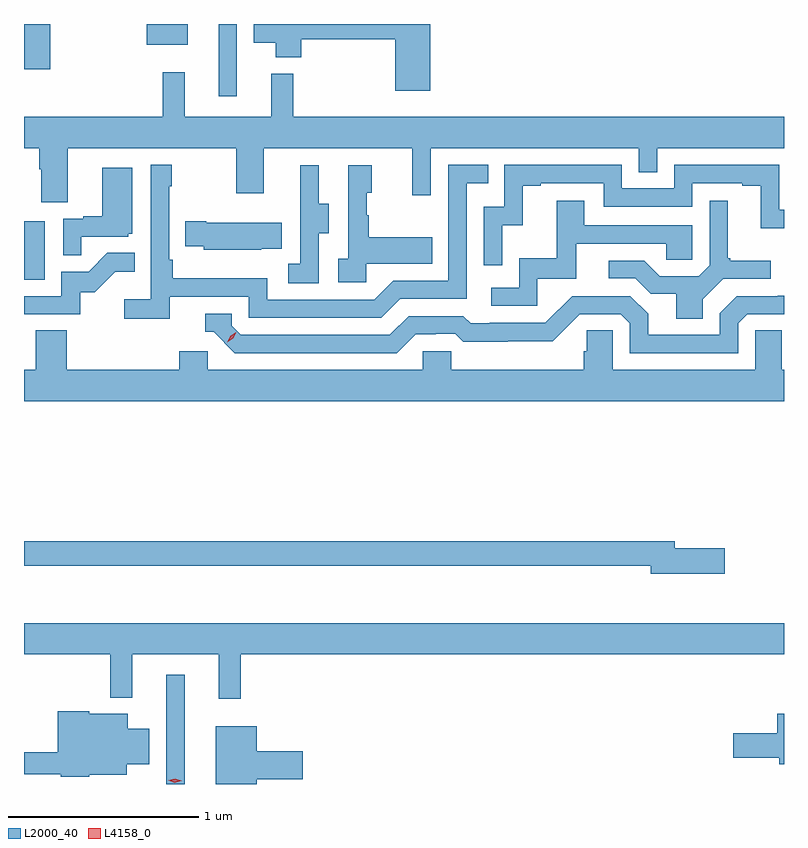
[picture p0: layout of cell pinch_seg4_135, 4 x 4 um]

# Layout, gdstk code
import gdstk
lib = gdstk.Library(unit=1e-6, precision=1e-09)
def R(c, l, rs):  # rectangles x0, y0, x1, y1
    for r in rs: c.add(gdstk.rectangle(r[:2], r[2:], *l))
def P(c, l, *ps):  # polygons
    for p in ps: c.add(gdstk.Polygon(p, *l))
L2000_40 = (2000, 40)
L4158_0 = (4158, 0)

pinch_seg4_135 = lib.new_cell('pinch_seg4_135')
R(pinch_seg4_135, L2000_40, [(1106.961,808.125,1107.058,808.699), (1106.212,810.78,1106.32,811.087), (1107.236,811.746,1107.333,812.125), (1106.212,811.887,1106.351,812.125), (1106.858,812.015,1107.073,812.125)])
P(pinch_seg4_135, L2000_40, [(1108.349,812.125),(1107.422,812.125),(1107.422,812.027),(1107.536,812.027),(1107.536,811.949),(1107.671,811.949),(1107.671,812.046),(1108.166,812.046),(1108.166,811.773),(1108.349,811.773)],
  [(1106.443,811.472),(1107.328,811.472),(1107.328,811.233),(1107.475,811.233),(1107.475,811.472),(1108.256,811.472),(1108.256,811.224),(1108.353,811.224),(1108.353,811.472),(1109.448,811.472),(1109.448,811.345),(1109.544,811.345),(1109.544,811.472),(1110.212,811.472),(1110.212,811.636),(1107.629,811.636),(1107.629,811.864),(1107.512,811.864),(1107.512,811.636),(1107.059,811.636),(1107.059,811.87),(1106.941,811.87),(1106.941,811.636),(1106.212,811.636),(1106.212,811.472),(1106.291,811.472),(1106.291,811.36),(1106.303,811.36),(1106.303,811.186),(1106.443,811.186)],
  [(1106.978,810.69),(1107.396,810.69),(1107.396,810.579),(1108.093,810.579),(1108.192,810.678),(1108.542,810.678),(1108.542,811.287),(1108.655,811.287),(1108.655,811.383),(1108.446,811.383),(1108.446,810.774),(1108.155,810.774),(1108.056,810.675),(1107.492,810.675),(1107.492,810.787),(1106.996,810.787),(1106.996,810.883),(1106.976,810.883),(1106.976,811.271),(1106.989,811.271),(1106.989,811.384),(1106.88,811.384),(1106.88,810.676),(1106.739,810.676),(1106.739,810.574),(1106.978,810.574)],
  [(1108.728,811.067),(1108.838,811.067),(1108.838,811.275),(1108.933,811.275),(1108.933,811.287),(1109.262,811.287),(1109.262,811.164),(1109.73,811.164),(1109.73,811.287),(1109.993,811.287),(1109.993,811.275),(1110.089,811.275),(1110.089,811.049),(1110.212,811.049),(1110.212,811.147),(1110.186,811.147),(1110.186,811.383),(1109.634,811.383),(1109.634,811.26),(1109.358,811.26),(1109.358,811.383),(1108.74,811.383),(1108.74,811.164),(1108.632,811.164),(1108.632,810.855),(1108.728,810.855)],
  [(1107.762,811.024),(1107.817,811.024),(1107.817,811.179),(1107.763,811.179),(1107.763,811.381),(1107.665,811.381),(1107.665,811.167),(1107.666,811.167),(1107.666,810.863),(1107.603,810.863),(1107.603,810.76),(1107.762,810.76)],
  [(1108.014,810.863),(1108.361,810.863),(1108.361,811.003),(1108.027,811.003),(1108.027,811.118),(1108.017,811.118),(1108.017,811.236),(1108.042,811.236),(1108.042,811.381),(1107.918,811.381),(1107.918,810.89),(1107.867,810.89),(1107.867,810.765),(1108.014,810.765)],
  [(1106.513,811.005),(1106.76,811.005),(1106.76,811.02),(1106.782,811.02),(1106.782,811.369),(1106.624,811.369),(1106.624,811.114),(1106.525,811.114),(1106.525,811.101),(1106.418,811.101),(1106.418,810.907),(1106.513,810.907)],
  [(1109.785,810.676),(1109.892,810.783),(1110.142,810.783),(1110.142,810.88),(1109.929,810.88),(1109.929,810.892),(1109.917,810.892),(1109.917,811.195),(1109.82,811.195),(1109.82,810.855),(1109.763,810.798),(1109.557,810.798),(1109.476,810.879),(1109.289,810.879),(1109.289,810.786),(1109.43,810.786),(1109.51,810.706),(1109.645,810.706),(1109.645,810.574),(1109.785,810.574)],
  [(1108.914,810.783),(1109.119,810.783),(1109.119,810.969),(1109.593,810.969),(1109.593,810.885),(1109.73,810.885),(1109.73,811.065),(1109.161,811.065),(1109.161,811.195),(1109.017,811.195),(1109.017,810.892),(1108.818,810.892),(1108.818,810.738),(1108.671,810.738),(1108.671,810.642),(1108.914,810.642)],
  [(1107.461,810.941),(1107.569,810.941),(1107.569,811.078),(1107.172,811.078),(1107.172,811.086),(1107.061,811.086),(1107.061,810.956),(1107.159,810.956),(1107.159,810.938),(1107.461,810.938)],
  [(1106.508,810.714),(1106.584,810.714),(1106.691,810.821),(1106.795,810.821),(1106.795,810.92),(1106.651,810.92),(1106.553,810.822),(1106.409,810.822),(1106.409,810.693),(1106.212,810.693),(1106.212,810.597),(1106.508,810.597)],
  [(1108.273,810.492),(1108.38,810.492),(1108.38,810.495),(1108.483,810.495),(1108.525,810.453),(1108.758,810.453),(1108.758,810.455),(1108.994,810.455),(1109.136,810.597),(1109.352,810.597),(1109.4,810.549),(1109.4,810.393),(1109.97,810.393),(1109.97,810.549),(1110.018,810.597),(1110.212,810.597),(1110.212,810.695),(1110.18,810.695),(1110.18,810.693),(1109.964,810.693),(1109.874,810.603),(1109.874,810.489),(1109.497,810.489),(1109.497,810.599),(1109.403,810.693),(1109.097,810.693),(1108.956,810.552),(1108.663,810.552),(1108.663,810.549),(1108.564,810.549),(1108.525,810.588),(1108.236,810.588),(1108.137,810.489),(1107.354,810.489),(1107.306,810.537),(1107.306,810.6),(1107.167,810.6),(1107.167,810.504),(1107.21,810.504),(1107.321,810.393),(1108.174,810.393)],
  [(1110.212,810.304),(1110.199,810.304),(1110.199,810.512),(1110.06,810.512),(1110.06,810.304),(1109.31,810.304),(1109.31,810.512),(1109.173,810.512),(1109.173,810.402),(1109.159,810.402),(1109.159,810.304),(1108.461,810.304),(1108.461,810.402),(1108.311,810.402),(1108.311,810.304),(1107.18,810.304),(1107.18,810.402),(1107.029,810.402),(1107.029,810.304),(1106.438,810.304),(1106.438,810.512),(1106.273,810.512),(1106.273,810.304),(1106.212,810.304),(1106.212,810.14),(1110.212,810.14)],
  [(1109.899,809.366),(1109.638,809.366),(1109.638,809.402),(1106.212,809.402),(1106.212,809.274),(1109.51,809.274),(1109.51,809.231),(1109.899,809.231)],
  [(1107.353,808.808),(1110.212,808.808),(1110.212,808.972),(1106.212,808.972),(1106.212,808.808),(1106.665,808.808),(1106.665,808.58),(1106.783,808.58),(1106.783,808.808),(1107.236,808.808),(1107.236,808.575),(1107.353,808.575)],
  [(1106.556,808.175),(1106.752,808.175),(1106.752,808.229),(1106.872,808.229),(1106.872,808.417),(1106.758,808.417),(1106.758,808.495),(1106.556,808.495),(1106.556,808.507),(1106.39,808.507),(1106.39,808.292),(1106.212,808.292),(1106.212,808.176),(1106.406,808.176),(1106.406,808.163),(1106.556,808.163)],
  [(1110.212,808.495),(1110.176,808.495),(1110.176,808.392),(1109.946,808.392),(1109.946,808.262),(1110.188,808.262),(1110.188,808.229),(1110.212,808.229)],
  [(1107.436,808.151),(1107.679,808.151),(1107.679,808.298),(1107.436,808.298),(1107.436,808.429),(1107.221,808.429),(1107.221,808.125),(1107.436,808.125)])
P(pinch_seg4_135, L4158_0, [(1107.283,810.451),(1107.283,810.451),(1107.299,810.484),(1107.33,810.503),(1107.33,810.503),(1107.33,810.502),(1107.314,810.47),(1107.283,810.451)],
  [(1107.006,808.132),(1106.972,808.144),(1106.971,808.144),(1106.972,808.144),(1107.007,808.152),(1107.042,808.141),(1107.042,808.141),(1107.042,808.141)])

lib.write_gds('pinch_seg4_135.gds')
